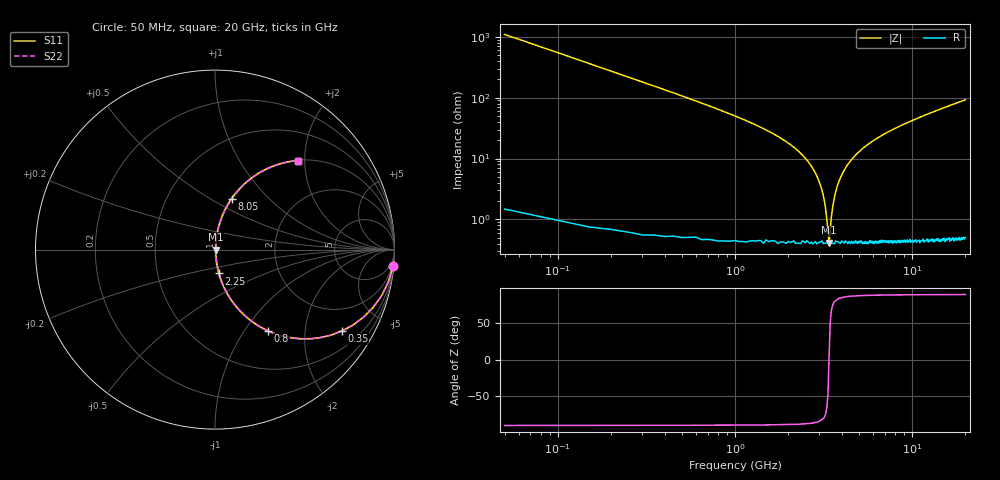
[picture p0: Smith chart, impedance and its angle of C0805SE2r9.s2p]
! AVX Thin Film Operation		Date: April 2012
! Description: Accu-P® Series, Thin Film, SMD, RF Capacitor
! Part Number: 08051J2R9QBTTR
!	100	MHz	-	20.05	GHz
!	Serial	Measurements
#	MHZ	S	MA	R	50
!	S11	S21	S12	S22
!	dB	Phase	dB	Phase	dB	Phase	dB	Phase
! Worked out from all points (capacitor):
!   400 points, 50 MHz to 20 GHz, reference 50 ohm
!   read as one part in series: C = 2.9 pF near 150 MHz
!   lowest |Z| = 413 mohm at 3.4 GHz (marker M1)
!   series resonance near 3.395 GHz, so ESL is about 760 pH
!   S11 on the Smith chart (normalised r, x): 50 MHz: 1, -22; 350 MHz: 1.01, -3.10; 800 MHz: 1.01, -1.30; 2.25 GHz: 1.01, -0.27; 8.05 GHz: 1.01, +0.63; 20 GHz: 1.01, +1.85
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50  0.996 -5.2  0.091 84.7  0.091 84.7  0.996 -5.2
100  0.983 -10.3  0.179 79.6  0.179 79.6  0.983 -10.3
150  0.964 -15.3  0.264 74.6  0.264 74.6  0.964 -15.3
350  0.839 -32.7  0.541 57.1  0.541 57.1  0.839 -32.7
800  0.542 -56.8  0.837 32.8  0.837 32.8  0.542 -56.8
1350  0.323 -70.5  0.942 18.8  0.942 18.8  0.323 -70.5
2250  0.135 -80.5  0.987 7.8  0.987 7.8  0.135 -80.5
2700  0.074 -82.5  0.993 4.3  0.993 4.3  0.074 -82.5
3050  0.035 -81.1  0.995 2.0  0.995 2.0  0.035 -81.1
3250  0.015 -72.7  0.996 0.8  0.996 0.8  0.015 -72.7
3400  0.004196 6.0  0.996 -0.0  0.996 -0.0  0.004196 6.0
3500  0.011 66.3  0.996 -0.6  0.996 -0.6  0.011 66.3
3650  0.024 78.5  0.996 -1.3  0.996 -1.3  0.024 78.5
3850  0.041 81.8  0.995 -2.3  0.995 -2.3  0.041 81.8
4150  0.065 82.6  0.994 -3.7  0.994 -3.7  0.065 82.6
5150  0.137 80.4  0.986 -7.9  0.986 -7.9  0.137 80.4
6700  0.23 75.7  0.969 -13.3  0.969 -13.3  0.23 75.7
8050  0.299 71.8  0.95 -17.4  0.95 -17.4  0.299 71.8
10050  0.389 66.5  0.917 -22.9  0.917 -22.9  0.389 66.5
13350  0.509 58.9  0.857 -30.6  0.857 -30.6  0.509 58.9
16700  0.604 52.5  0.793 -37.2  0.793 -37.2  0.604 52.5
20000  0.677 47.1  0.732 -42.6  0.732 -42.6  0.677 47.1
